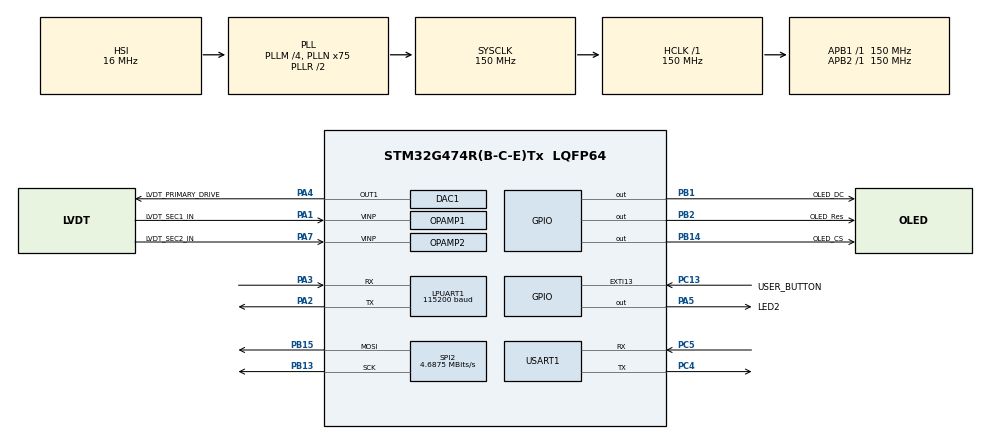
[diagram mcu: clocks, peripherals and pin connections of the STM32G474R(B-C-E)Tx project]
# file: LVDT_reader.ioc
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ADC1.Channel-0\#ChannelRegularConversion=ADC_CHANNEL_VOPAMP1
ADC1.DMAAccessModeView=ENABLE
ADC1.DMAContinuousRequests=ENABLE
ADC1.EOCSelection=ADC_EOC_SINGLE_CONV
ADC1.ExternalTrigConv=ADC_EXTERNALTRIG_T7_TRGO
ADC1.Mode=ADC_DUALMODE_REGSIMULT
ADC1.NbrOfConversionFlag=1
ADC1.OffsetNumber-0\#ChannelRegularConversion=ADC_OFFSET_NONE
ADC1.Overrun=ADC_OVR_DATA_OVERWRITTEN
ADC1.Rank-0\#ChannelRegularConversion=1
ADC1.SamplingTime-0\#ChannelRegularConversion=ADC_SAMPLETIME_2CYCLES_5
ADC1.master=1
ADC2.Channel-0\#ChannelRegularConversion=ADC_CHANNEL_VOPAMP2
ADC2.DMAAccessModeView=ENABLE
ADC2.Mode=ADC_DUALMODE_REGSIMULT
ADC2.NbrOfConversionFlag=1
ADC2.OffsetNumber-0\#ChannelRegularConversion=ADC_OFFSET_NONE
ADC2.Overrun=ADC_OVR_DATA_OVERWRITTEN
ADC2.Rank-0\#ChannelRegularConversion=1
ADC2.SamplingTime-0\#ChannelRegularConversion=ADC_SAMPLETIME_2CYCLES_5
DAC1.DAC_Trigger_OUT1-DAC_OUT1=DAC_TRIGGER_T6_TRGO
Dma.ADC1.0.Direction=DMA_PERIPH_TO_MEMORY
Dma.ADC1.0.EventEnable=DISABLE
Dma.ADC1.0.Instance=DMA1_Channel1
Dma.ADC1.0.MemDataAlignment=DMA_MDATAALIGN_WORD
Dma.ADC1.0.MemInc=DMA_MINC_ENABLE
Dma.ADC1.0.Mode=DMA_CIRCULAR
Dma.ADC1.0.PeriphDataAlignment=DMA_PDATAALIGN_WORD
Dma.ADC1.0.PeriphInc=DMA_PINC_DISABLE
Dma.ADC1.0.Polarity=HAL_DMAMUX_REQ_GEN_RISING
Dma.ADC1.0.Priority=DMA_PRIORITY_HIGH
Dma.ADC1.0.RequestNumber=1
Dma.ADC1.0.SignalID=NONE
Dma.ADC1.0.SyncEnable=DISABLE
Dma.ADC1.0.SyncPolarity=HAL_DMAMUX_SYNC_NO_EVENT
Dma.ADC1.0.SyncRequestNumber=1
Dma.ADC1.0.SyncSignalID=NONE
Dma.DAC1_CH1.1.Direction=DMA_MEMORY_TO_PERIPH
Dma.DAC1_CH1.1.EventEnable=DISABLE
Dma.DAC1_CH1.1.Instance=DMA1_Channel3
Dma.DAC1_CH1.1.MemDataAlignment=DMA_MDATAALIGN_HALFWORD
Dma.DAC1_CH1.1.MemInc=DMA_MINC_ENABLE
Dma.DAC1_CH1.1.Mode=DMA_CIRCULAR
Dma.DAC1_CH1.1.PeriphDataAlignment=DMA_PDATAALIGN_WORD
Dma.DAC1_CH1.1.PeriphInc=DMA_PINC_DISABLE
Dma.DAC1_CH1.1.Polarity=HAL_DMAMUX_REQ_GEN_RISING
Dma.DAC1_CH1.1.Priority=DMA_PRIORITY_HIGH
Dma.DAC1_CH1.1.RequestNumber=1
Dma.DAC1_CH1.1.SignalID=NONE
Dma.DAC1_CH1.1.SyncEnable=DISABLE
Dma.DAC1_CH1.1.SyncPolarity=HAL_DMAMUX_SYNC_NO_EVENT
Dma.DAC1_CH1.1.SyncRequestNumber=1
Dma.DAC1_CH1.1.SyncSignalID=NONE
Dma.Request0=ADC1
Dma.Request1=DAC1_CH1
LPUART1.BaudRate=115200
Mcu.Family=STM32G4
Mcu.Name=STM32G474R(B-C-E)Tx
Mcu.Package=LQFP64
Mcu.UserConstants=tim6_prescaler,24;tim6_period,5;tim7_prescaler,249;tim7_period,4
NVIC.DMA1_Channel1_IRQn=true\:0\:0\:false\:false\:true\:false\:true\:true
NVIC.DMA1_Channel3_IRQn=true\:0\:0\:false\:false\:true\:false\:true\:true
NVIC.EXTI15_10_IRQn=true\:0\:0\:false\:false\:true\:true\:true\:true
NVIC.PriorityGroup=NVIC_PRIORITYGROUP_4
PA1.GPIO_Label=LVDT_SEC1_IN
PA1.Mode=Follower_Internally_Connected
PA1.Signal=OPAMP1_VINP
PA13.Mode=Trace_Asynchronous_SW
PA13.Signal=SYS_JTMS-SWDIO
PA14.Mode=Trace_Asynchronous_SW
PA14.Signal=SYS_JTCK-SWCLK
PA2.Mode=Asynchronous
PA2.Signal=LPUART1_TX
PA3.Mode=Asynchronous
PA3.Signal=LPUART1_RX
PA4.GPIO_Label=LVDT_PRIMARY_DRIVE
PA4.Signal=COMP_DAC11_group
PA5.GPIO_Label=LED2
PA5.Signal=GPIO_Output
PA7.GPIO_Label=LVDT_SEC2_IN
PA7.Mode=Follower_Internally_Connected
PA7.Signal=OPAMP2_VINP
PB1.GPIO_Label=OLED_DC
PB1.Signal=GPIO_Output
PB13.Mode=TX_Only_Simplex_Unidirect_Master
PB13.Signal=SPI2_SCK
PB14.GPIO_Label=OLED_CS
PB14.PinState=GPIO_PIN_SET
PB14.Signal=GPIO_Output
PB15.Mode=TX_Only_Simplex_Unidirect_Master
PB15.Signal=SPI2_MOSI
PB2.GPIO_Label=OLED_Res
PB2.Signal=GPIO_Output
PB3.Mode=Trace_Asynchronous_SW
PB3.Signal=SYS_JTDO-SWO
PC13.GPIO_Label=USER_BUTTON
PC13.GPIO_ModeDefaultEXTI=GPIO_MODE_IT_RISING_FALLING
PC13.Signal=GPXTI13
PC4.Mode=Asynchronous
PC4.Signal=USART1_TX
PC5.Mode=Asynchronous
PC5.Signal=USART1_RX
ProjectManager.HeapSize=0x200
ProjectManager.StackSize=0x400
ProjectManager.TargetToolchain=CMake
RCC.ADC12Freq_Value=150000000
RCC.ADC345Freq_Value=150000000
RCC.AHBFreq_Value=150000000
RCC.APB1Freq_Value=150000000
RCC.APB1TimFreq_Value=150000000
RCC.APB2Freq_Value=150000000
RCC.APB2TimFreq_Value=150000000
RCC.CortexFreq_Value=150000000
RCC.EXTERNAL_CLOCK_VALUE=12288000
RCC.HCLKFreq_Value=150000000
RCC.HSE_VALUE=24000000
RCC.HSI48_VALUE=48000000
RCC.HSI_VALUE=16000000
RCC.LSE_VALUE=32768
RCC.PLLM=RCC_PLLM_DIV4
RCC.PLLN=75
RCC.RTCClockSelection=RCC_RTCCLKSOURCE_LSE
RCC.SYSCLKFreq_VALUE=150000000
RCC.SYSCLKSource=RCC_SYSCLKSOURCE_PLLCLK
RCC.USBFreq_Value=150000000
RCC.VCOOutputFreq_Value=300000000
SH.COMP_DAC11_group.0=DAC1_OUT1,DAC_OUT1
SPI2.BaudRatePrescaler=SPI_BAUDRATEPRESCALER_32
SPI2.CalculateBaudRate=4.6875 MBits/s
SPI2.DataSize=SPI_DATASIZE_8BIT
SPI2.Direction=SPI_DIRECTION_2LINES
SPI2.Mode=SPI_MODE_MASTER
SPI2.VirtualType=VM_MASTER
TIM6.Dithering=Disable
TIM6.Integer_PeriodDither=tim7_period
TIM6.PeriodNoDither=tim6_period
TIM6.Prescaler=tim6_prescaler
TIM6.TIM_MasterOutputTrigger=TIM_TRGO_UPDATE
TIM7.PeriodNoDither=tim7_period
TIM7.Prescaler=tim7_prescaler
TIM7.TIM_MasterOutputTrigger=TIM_TRGO_UPDATE
USART1.VirtualMode-Asynchronous=VM_ASYNC
VP_ADC1_OPAMP_INTERNAL1.Mode=IN-OPAMP1
VP_ADC2_OPAMP_INTERNAL2.Mode=IN-OPAMP2
VP_CORDIC_VS_CORDIC.Mode=CORDIC_Activate
VP_SYS_VS_DBSignals.Mode=DisableDeadBatterySignals
VP_TIM6_VS_ClockSourceINT.Mode=Enable_Timer
VP_TIM7_VS_ClockSourceINT.Mode=Enable_Timer
board=NUCLEO-G474RE

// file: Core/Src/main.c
/* USER CODE BEGIN Header */
/**
  ******************************************************************************
  * @file           : main.c
  * @brief          : Main program body
  ******************************************************************************
  * @attention
  *
  * Copyright (c) 2025 STMicroelectronics.
  * All rights reserved.
  *
  * This software is licensed under terms that can be found in the LICENSE file
  * in the root directory of this software component.
  * If no LICENSE file comes with this software, it is provided AS-IS.
  *
  ******************************************************************************
  */
/* USER CODE END Header */
#include "main.h"
#include "adc.h"
#include "cordic.h"
#include "dac.h"
#include "dma.h"
#include "usart.h"
#include "opamp.h"
#include "spi.h"
#include "tim.h"
#include "gpio.h"

/* USER CODE BEGIN Includes */
#include "debugtools.h"
#include "lvdt.h"
#include "user_interface.h"
#include "onebutton.h"
/* USER CODE END Includes */

/* USER CODE BEGIN PV */
__IO uint8_t       ubButtonPress = 0;
OnebuttonHandler_t onebutton_handle = { 0 };

// uint32_t tim6_prescaler = 0;
// uint32_t tim6_period = 65535;
// uint32_t tim7_prescaler = 0;
// uint32_t tim7_period = 1250;
/* USER CODE END PV */

void SystemClock_Config(void);
/* USER CODE BEGIN PFP */
#define PUTCHAR_PROTOTYPE int __io_putchar(int ch)

/* USER CODE END PFP */

int main(void)
{

  /* MCU Configuration--------------------------------------------------------*/

  /* Reset of all peripherals, Initializes the Flash interface and the Systick. */
  HAL_Init();

  /* Configure the system clock */
  SystemClock_Config();

  /* USER CODE BEGIN SysInit */
  // LVDT_Init();
  /* USER CODE END SysInit */

  /* Initialize all configured peripherals */
  MX_GPIO_Init();
  MX_DMA_Init();
  MX_DAC1_Init();
  MX_OPAMP1_Init();
  MX_OPAMP2_Init();
  MX_TIM6_Init();
  MX_TIM7_Init();
  MX_ADC1_Init();
  MX_ADC2_Init();
  MX_CORDIC_Init();
  MX_LPUART1_UART_Init();
  MX_USART1_UART_Init();
  MX_SPI2_Init();
  /* USER CODE BEGIN 2 */
  OnebuttonHandlerInitParams_t onebutton_init_params = Onebutton_GetDefaultInitParams();
  onebutton_init_params.GPIOx = USER_BUTTON_GPIO_Port;
  onebutton_init_params.GPIO_Pin = USER_BUTTON_Pin;
  Onebutton_Init(&onebutton_handle, &onebutton_init_params);
  LVDT_Init();
  DEBUG_PRINT("Peripherals initialized.\n");
  UI_Init(&onebutton_handle);
  DEBUG_PRINT("UI initialized.\n");
  WARN_PRINT("Please press button to start...\n");
  UIMenu_Run();
  WaitForUserButtonPress();
  INFO_PRINT("Starting operation.\n");
  UI_Update();
  LVDT_Start();
  /* USER CODE END 2 */

  /* Infinite loop */
  /* USER CODE BEGIN WHILE */

  while (1) {
    if (buffer_ready_for_processing) {
      LVDT_ProcessData();
    } else {
      HAL_Delay(1);
    }
    /* USER CODE END WHILE */

  }
}

void SystemClock_Config(void)
{
  RCC_OscInitTypeDef RCC_OscInitStruct = { 0 };
  RCC_ClkInitTypeDef RCC_ClkInitStruct = { 0 };

  /** Configure the main internal regulator output voltage
  */
  HAL_PWREx_ControlVoltageScaling(PWR_REGULATOR_VOLTAGE_SCALE1);

  /** Initializes the RCC Oscillators according to the specified parameters
  * in the RCC_OscInitTypeDef structure.
  */
  RCC_OscInitStruct.OscillatorType = RCC_OSCILLATORTYPE_HSI;
  RCC_OscInitStruct.HSIState = RCC_HSI_ON;
  RCC_OscInitStruct.HSICalibrationValue = RCC_HSICALIBRATION_DEFAULT;
  RCC_OscInitStruct.PLL.PLLState = RCC_PLL_ON;
  RCC_OscInitStruct.PLL.PLLSource = RCC_PLLSOURCE_HSI;
  RCC_OscInitStruct.PLL.PLLM = RCC_PLLM_DIV4;
  RCC_OscInitStruct.PLL.PLLN = 75;
  RCC_OscInitStruct.PLL.PLLP = RCC_PLLP_DIV2;
  RCC_OscInitStruct.PLL.PLLQ = RCC_PLLQ_DIV2;
  RCC_OscInitStruct.PLL.PLLR = RCC_PLLR_DIV2;
  if (HAL_RCC_OscConfig(&RCC_OscInitStruct) != HAL_OK) { Error_Handler(); }

  /** Initializes the CPU, AHB and APB buses clocks
  */
  RCC_ClkInitStruct.ClockType = RCC_CLOCKTYPE_HCLK | RCC_CLOCKTYPE_SYSCLK | RCC_CLOCKTYPE_PCLK1 | RCC_CLOCKTYPE_PCLK2;
  RCC_ClkInitStruct.SYSCLKSource = RCC_SYSCLKSOURCE_PLLCLK;
  RCC_ClkInitStruct.AHBCLKDivider = RCC_SYSCLK_DIV1;
  RCC_ClkInitStruct.APB1CLKDivider = RCC_HCLK_DIV1;
  RCC_ClkInitStruct.APB2CLKDivider = RCC_HCLK_DIV1;

  if (HAL_RCC_ClockConfig(&RCC_ClkInitStruct, FLASH_LATENCY_4) != HAL_OK) { Error_Handler(); }
}

/* USER CODE BEGIN 4 */

/**
 * @brief  Wait for User push-button press to start transfer.
 * @param  None
 * @retval None
 */
void WaitForUserButtonPress(void)
{
  while (ubButtonPress == 0) {
    // LL_GPIO_TogglePin(LED2_GPIO_Port, LED2_Pin); // TODO: deleteme
    // LL_mDelay(LED_BLINK_FAST);
    HAL_GPIO_TogglePin(LED2_GPIO_Port, LED2_Pin);
    HAL_Delay(LED_BLINK_FAST);
  }
  ubButtonPress = 0;
}

/**
 * @brief  Turn-on LED4.
 * @param  None
 * @retval None
 */
void LED_On(void)
{
  /* Turn LED4 on */
  // LL_GPIO_SetOutputPin(LED2_GPIO_Port, LED2_Pin); //TODO: deleteme
  HAL_GPIO_WritePin(LED2_GPIO_Port, LED2_Pin, GPIO_PIN_SET);
}

/**
  * @brief  Turn-off LED4.
  * @param  None
  * @retval None
  */
void LED_Off(void)
{
  /* Turn LED4 off */
  // LL_GPIO_ResetOutputPin(LED2_GPIO_Port, LED2_Pin); //TODO: deleteme
  HAL_GPIO_WritePin(LED2_GPIO_Port, LED2_Pin, GPIO_PIN_RESET);
}

/**
  * @brief  Set LED4 to Blinking mode for an infinite loop (toggle period based on value provided as input parameter).
  * @param  Period : Period of time (in ms) between each toggling of LED
  *   This parameter can be user defined values. Pre-defined values used in that example are :
  *     @arg LED_BLINK_FAST : Fast Blinking
  *     @arg LED_BLINK_SLOW : Slow Blinking
  *     @arg LED_BLINK_ERROR : Error specific Blinking
  * @retval None
  */
void LED_Blinking(uint32_t Period)
{
  /* Turn LED4 on */
  // LL_GPIO_SetOutputPin(LED2_GPIO_Port, LED2_Pin); //TODO: deleteme (not needed)

  /* Toggle IO in an infinite loop */
  while (1) {
    // LL_GPIO_TogglePin(LED2_GPIO_Port, LED2_Pin); //TODO: deleteme
    // LL_mDelay(Period);
    HAL_GPIO_TogglePin(LED2_GPIO_Port, LED2_Pin);
    HAL_Delay(Period);
  }
}

/**
 * @brief  Function to manage IRQ Handler
 * @param  None
 * @retval None
 * @deprecated
 */
void UserButton_Callback(void)
{
  /* On the first press on user button, update only user button variable      */
  /* to manage waiting function.                                              */
  if (ubButtonPress == 0) {
    /* Update User push-button variable : to be checked in waiting loop in main program */
    ubButtonPress = 1;
  }
}

/**
  * @brief  EXTI line detection callback.
  * @param  GPIO_Pin: Specifies the port pin connected to corresponding EXTI line.
  * @retval None
  */
void HAL_GPIO_EXTI_Callback(uint16_t GPIO_Pin)
{
  if (GPIO_Pin == USER_BUTTON_Pin) { Onebutton_InterruptHandler(&onebutton_handle); }
}

PUTCHAR_PROTOTYPE
{
  /* Place your implementation of fputc here */
  /* e.g. write a character to the USART1 and Loop until the end of transmission */
  HAL_UART_Transmit(&hlpuart1, (uint8_t *)&ch, 1, HAL_MAX_DELAY);
  // HAL_UART_Transmit(&huart1, (uint8_t *)&ch, 1, HAL_MAX_DELAY);
  return ch;
}

/* USER CODE END 4 */

void Error_Handler(void)
{
  __disable_irq();
  while (1) {}
}
